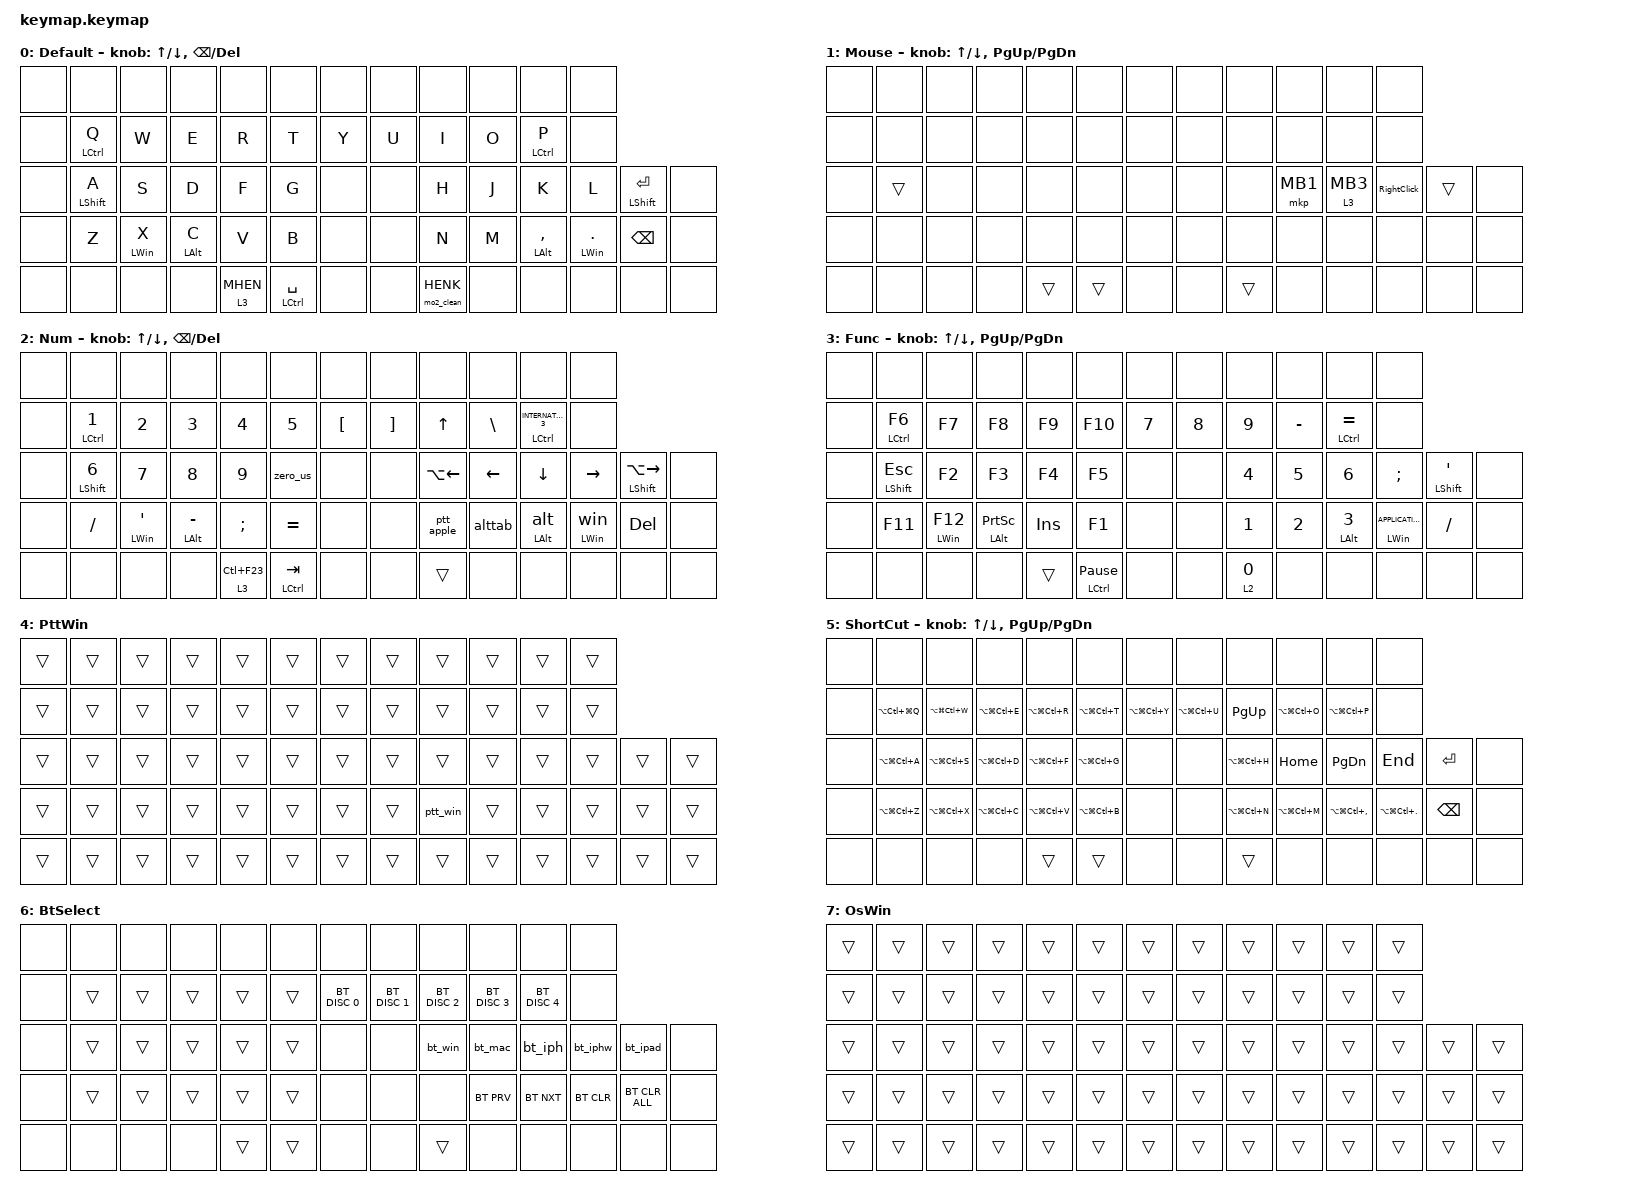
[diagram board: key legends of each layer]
#include <behaviors.dtsi>
#include <dt-bindings/zmk/bt.h>
#include <dt-bindings/zmk/keys.h>
#include <dt-bindings/zmk/pointing.h>

// torabo_tsuki_lp master(66キー/Lレイアウト)の物理マトリクスに、4x5keys2のキーマップを移植したもの。
// 4x5keys2で実キーが存在した位置だけ機能を割り当て、その他はmaster上に存在しても&noneにしている。
// 4x5keys2位置 -> master位置の対応:
//   row0 (Q-P):        0-9   -> 13,14,15,16,17,18,19,20,21,22
//   row1 (A-L,+1):      10-19 -> 25,26,27,28,29,32,33,34,35,36
//   row2 (Z-.,+1):      20-29 -> 39,40,41,42,43,46,47,48,49,50
//   row3 (V,B,Nの下):   33,34,35 -> 56,57,60
// master物理レイアウト(size_l)は 5行 x 12/14列 = 66キー。詳細はtorabo_tsuki_lp.dtsiのsize_l_transform参照。

&mkp_input_listener { input-processors = <&zip_temp_layer 1 100000>; };

&zip_temp_layer {
    excluded-positions = <
        33 // J:Lbutton
        34 // K:Mbutton - Scroll Layer
        35 // L:Rbutton
        36 // Enter-shift
        25 // A-Shift
        57 // Space-Lctrl
    >;

    require-prior-idle-ms = <200>;
};

&pointing_listener {
    input-processors = <
        &zip_xy_transform (INPUT_TRANSFORM_X_INVERT |INPUT_TRANSFORM_Y_INVERT)
        &zip_temp_layer 1 100000
    >;

    scroller {
        layers = <3>;
        input-processors = <
            &zip_xy_transform (INPUT_TRANSFORM_X_INVERT)
            &zip_xy_to_scroll_mapper
            &zip_scroll_snap // 斜めのスクロールを縦横軸にスナップさせる
            // &scroll_inertia // 慣性スクロール(iOS風の減速スクロール) - 無効化中
            // 2026-11-25: Windows の AutoHotkey（torabo-tsuki.ahk）の右ドラッグスクロールに合わせて 1/8 → 16/15。
            //   ahk: カーソル 15px で1目盛り（WHEEL_DELTA 120）。
            //   ZMK v0.3 + SMOOTH_SCROLLING: Windows は解像度倍率を16にするので、ホイール1単位 = 1/16目盛り。
            //   ボール1カウント = カーソル1px（Windows のポインター速度 10/20・「精度を高める」オフの場合）とすると
            //   15カウントで16単位 = 16/15。旧 1/8 は128カウントで1目盛り（ahk の約8.5倍遅い）。
            //   ⚠️ macOS は解像度倍率を使わない想定のため、Mac では1単位が1目盛り扱いになり速くなる（未検証）。
            &zip_scroll_scaler 16 15 // n/m 倍。戻すときは 1 8
        >;
    };
};

&zip_scroll_snap {
    x-threshold = <5 8>;
    y-threshold = <8 5>;
    xy-threshold = <5 8>;
};

// mtの初期値はhold-preferred(他のキーを押した瞬間にholdが確定する)で、
// Spaceの直後に文字を打つと意図せずCtrl等が発火しやすいので、hmと同じtap-preferredに統一する

&mt {
    flavor = "tap-preferred";
    quick-tap-ms = <200>;
};

// stickyレイヤー(&sl)の保持時間。既定の1秒だとBTプロファイルを選ぶ前に外れやすいので伸ばす。
// 外れた場合はBtSelectレイヤーが消えるだけで、誤爆して別プロファイルへ飛ぶことはない
&sl {
    release-after-ms = <2000>;
};

/ {
    combos {
        compatible = "zmk,combos";

        pgup {
            bindings = <&kp PG_UP>;
            key-positions = <20 39 60>;
        };

        pgdn {
            bindings = <&kp PAGE_DOWN>;
            key-positions = <39 60 34>;
        };

        home {
            bindings = <&kp HOME>;
            key-positions = <39 60 33>;
        };

        end {
            bindings = <&kp END>;
            key-positions = <39 60 35>;
        };

        // 右手だけでBTプロファイルを選ぶ入口。U I O (index 19 20 21)の同時押しでBtSelect(layer 6)を
        // stickyで1回だけ有効にし、続けて右手の1キーを「単押し」して接続/切断/消去を選ぶ。
        // 既存の2+3(両親指)経由のShortCutはそのまま残る。
        // 右手がcentralなので、左手が電池切れ・電源オフでもこの経路だけは生きている。
        //
        // 🔴 layersは「その時点で最も高いindexのアクティブなレイヤー」1つとだけ照合される
        // (combo.c: zmk_keymap_highest_layer_active)。そのため素の0だけでは足りない:
        //   0 = 通常
        //   1 = Mouse。トラックボールを触るとzip_temp_layerが立てるので、ボール直後に効かなくなる
        //   7 = OsWin。Windowsモードの間ずっとonなので、これが無いとWindows側で一切発火しない
        // 逆にNum(2)/Func(3)/ShortCut(5)中は発火しない。Windowsモードのみhighestが7のままなので
        // Num/Func中でも発火しうるが、その位置の3キー同時押しは通常の打鍵では起きない。
        // 🔴 下段(M , .)ではなく上段(U I O)に置くのは、下段の . BS がプロファイル消去・全消去で、
        // コンボを離した指がその上に残ると誤爆したとき接続情報が消えるため(2026-09-21 田上さんの判断)。
        // 上段に残る指の下はBT_DISC(切断)で、こちらは繋ぎ直せば戻る。
        // ⚠️ require-prior-idle-msは誤爆防止。外すと打鍵の流れの中で画面が別の機械へ飛ぶ
        bt_select {
            bindings = <&sl 6>;
            key-positions = <19 20 21>;
            timeout-ms = <50>;
            require-prior-idle-ms = <200>;
            layers = <0 1 7>;
        };
    };

    keymap {
        compatible = "zmk,keymap";

        Default {
            bindings = <
  &none  &none  &none  &none  &none  &none  &none  &none  &none  &none  &none  &none
  &none  &hm LCTRL Q  &kp W  &kp E  &kp R  &kp T  &kp Y  &kp U  &kp I  &kp O  &hm LCTRL P  &none
  &none  &mt_exit_AML_on_tap LSHIFT A  &kp S  &kp D  &kp F  &kp G  &none  &none  &kp H  &kp J  &kp K  &kp L  &mt_exit_AML_on_tap LEFT_SHIFT ENTER  &none
  &none  &kp Z  &hm LWIN X  &hm LALT C  &kp V  &kp B  &none  &none  &kp N  &kp M  &hm LEFT_ALT COMMA  &hm LWIN DOT  &kp BACKSPACE  &none
  &none  &none  &none  &none  &moMHEN 3 0  &mt LCTRL SPACE  &none  &none  &moHENK 0 0  &none  &none  &none  &none  &none
            >;

            sensor-bindings = <
            &inc_dec_kp UP DOWN
            &inc_dec_kp BSPC DEL
            >;
        };

        Mouse {
            bindings = <
  &none  &none  &none  &none  &none  &none  &none  &none  &none  &none  &none  &none
  &none  &none  &none  &none  &none  &none  &none  &none  &none  &none  &none  &none
  &none  &trans  &none  &none  &none  &none  &none  &none  &none  &mkp MB1  &lm 3 MB3  &RightClick  &trans  &none
  &none  &none  &none  &none  &none  &none  &none  &none  &none  &none  &none  &none  &none  &none
  &none  &none  &none  &none  &trans  &trans  &none  &none  &trans  &none  &none  &none  &none  &none
            >;

            sensor-bindings = <
            &inc_dec_kp UP DOWN
            &inc_dec_kp PG_UP PG_DN
            >;
        };

        Num {
            bindings = <
  &none  &none  &none  &none  &none  &none  &none  &none  &none  &none  &none  &none
  &none  &hm LCTRL NUMBER_1  &kp N2  &kp N3  &kp N4  &kp N5  &kp LEFT_BRACKET  &kp RIGHT_BRACKET  &kp UP  &kp BACKSLASH  &hm LCTRL INTERNATIONAL_3  &none
  &none  &hm LSHIFT NUMBER_6  &kp N7  &kp N8  &kp N9  &zero_us  &none  &none  &kp LA(LEFT)  &kp LEFT  &kp DOWN  &kp RIGHT  &hm LEFT_SHIFT LA(RIGHT)  &none
  &none  &kp SLASH  &hm LEFT_WIN SINGLE_QUOTE  &hm LEFT_ALT MINUS  &kp SEMI  &kp EQUAL  &none  &none  &ptt_apple  &alttab  &Malt LEFT_ALT 0  &Mwin LWIN 0  &kp DELETE  &none
  &none  &none  &none  &none  &lt 3 LC(F23)  &mt LCTRL TAB  &none  &none  &trans  &none  &none  &none  &none  &none
            >;

            sensor-bindings = <
            &inc_dec_kp UP DOWN
            &inc_dec_kp BSPC DEL
            >;
        };

        Func {
            bindings = <
  &none  &none  &none  &none  &none  &none  &none  &none  &none  &none  &none  &none
  &none  &hm LCTRL F6  &kp F7  &kp F8  &kp F9  &kp F10  &kp N7  &kp N8  &kp N9  &kp MINUS  &hm LCTRL EQUAL  &none
  &none  &hm LSHIFT ESCAPE  &kp F2  &kp F3  &kp F4  &kp F5  &none  &none  &kp N4  &kp N5  &kp N6  &kp SEMI  &hm LSHIFT SINGLE_QUOTE  &none
  &none  &kp F11  &mt LWIN F12  &mt LALT PRINTSCREEN  &kp INS  &kp F1  &none  &none  &kp N1  &kp N2  &hm LALT NUMBER_3  &hm LWIN K_APPLICATION  &kp FSLH  &none
  &none  &none  &none  &none  &trans  &hm LCTRL PAUSE_BREAK  &none  &none  &lt 2 N0  &none  &none  &none  &none  &none
            >;

            sensor-bindings = <
            &inc_dec_kp UP DOWN
            &inc_dec_kp PG_UP PG_DN
            >;
        };

        // Windowsモード時にNumレイヤーのPTTキー(index 46)だけを&ptt_winへ差し替える専用レイヤー。
        // ShortCutより前(低いindex)に置くこと。後ろに置くとNum+Funcの&bootloader(ShortCutのindex 46)が
        // このレイヤーに勝たれてしまい、キーマップからブートローダに入れなくなる
        PttWin {
            display-name = "PttWin";
            bindings = <
  &trans  &trans  &trans  &trans  &trans  &trans  &trans  &trans  &trans  &trans  &trans  &trans
  &trans  &trans  &trans  &trans  &trans  &trans  &trans  &trans  &trans  &trans  &trans  &trans
  &trans  &trans  &trans  &trans  &trans  &trans  &trans  &trans  &trans  &trans  &trans  &trans  &trans  &trans
  &trans  &trans  &trans  &trans  &trans  &trans  &trans  &trans  &ptt_win  &trans  &trans  &trans  &trans  &trans
  &trans  &trans  &trans  &trans  &trans  &trans  &trans  &trans  &trans  &trans  &trans  &trans  &trans  &trans
            >;
        };

        ShortCut {
            bindings = <
  &none  &none  &none  &none  &none  &none  &none  &none  &none  &none  &none  &none
  &none  &kp LA(LC(LG(Q)))  &kp LA(LG(LC(W)))  &kp LA(LG(LC(E)))  &kp LA(LG(LC(R)))  &kp LA(LG(LC(T)))  &kp LA(LG(LC(Y)))  &kp LA(LG(LC(U)))  &kp PG_UP  &kp LA(LG(LC(O)))  &kp LA(LG(LC(P)))  &none
  &none  &kp LA(LG(LC(A)))  &kp LA(LG(LC(S)))  &kp LA(LG(LC(D)))  &kp LA(LG(LC(F)))  &kp LA(LG(LC(G)))  &none  &none  &kp LA(LG(LC(H)))  &kp HOME  &kp PG_DN  &kp END  &kp ENTER  &none
  &none  &kp LA(LG(LC(Z)))  &kp LA(LG(LC(X)))  &kp LA(LG(LC(C)))  &kp LA(LG(LC(V)))  &kp LA(LG(LC(B)))  &none  &none  &kp LA(LG(LC(N)))  &kp LA(LG(LC(M)))  &kp LA(LG(LC(COMMA)))  &kp LA(LG(LC(DOT)))  &kp BSPC  &none
  &none  &none  &none  &none  &trans  &trans  &none  &none  &trans  &none  &none  &none  &none  &none
            >;

            sensor-bindings = <
            &inc_dec_kp UP DOWN
            &inc_dec_kp PG_UP PG_DN
            >;
        };

        // 🔴 bootloaderキーは2026-09-21に田上さんの判断で削除した。以後キーマップからは入れない。
        // 代わりにUSBを繋いでCDC ACMポートを1200bpsで開くとブートローダに入る
        // (CONFIG_ZMK_CDC_ACM_BOOTLOADER_TRIGGER=y が左右の.confにある。Arduinoと同じ方式):
        //   ls /dev/cu.usbmodem*  →  stty -f /dev/cu.usbmodem<実際の名前> 1200
        //
        // BT関連を集約したレイヤー。combo bt_select から &sl 6 (sticky) で入り、次の1キーだけ効く。
        //   Y U I O P     = プロファイル0〜4の切断 (&bt BT_DISC)
        //   H J K L Enter = プロファイル0〜4への接続 (Win/Mac/iPhone/iPhone(W)/iPad)
        //   M ,           = 前/次のプロファイル
        //   . BS          = このプロファイルを消去 / 全プロファイルを消去
        // 左手は&trans、右手の残りは&noneなので、選び損ねても何も起きない
        BtSelect {
            display-name = "BtSelect";
            bindings = <
  &none  &none  &none  &none  &none  &none  &none  &none  &none  &none  &none  &none
  &none  &trans  &trans  &trans  &trans  &trans  &bt BT_DISC 0  &bt BT_DISC 1  &bt BT_DISC 2  &bt BT_DISC 3  &bt BT_DISC 4  &none
  &none  &trans  &trans  &trans  &trans  &trans  &none  &none  &bt_win  &bt_mac  &bt_iph  &bt_iphw  &bt_ipad  &none
  &none  &trans  &trans  &trans  &trans  &trans  &none  &none  &none  &bt BT_PRV  &bt BT_NXT  &bt BT_CLR  &bt BT_CLR_ALL  &none
  &none  &none  &none  &none  &trans  &trans  &none  &none  &trans  &none  &none  &none  &none  &none
            >;
        };

        // OSモード(Windowsかどうか)を保持するだけのフラグ専用レイヤー。BTプロファイル選択マクロがon/offする。
        // 全66エントリが&transなのでキー解決には一切影響しない
        OsWin {
            display-name = "OsWin";
            bindings = <
  &trans  &trans  &trans  &trans  &trans  &trans  &trans  &trans  &trans  &trans  &trans  &trans
  &trans  &trans  &trans  &trans  &trans  &trans  &trans  &trans  &trans  &trans  &trans  &trans
  &trans  &trans  &trans  &trans  &trans  &trans  &trans  &trans  &trans  &trans  &trans  &trans  &trans  &trans
  &trans  &trans  &trans  &trans  &trans  &trans  &trans  &trans  &trans  &trans  &trans  &trans  &trans  &trans
  &trans  &trans  &trans  &trans  &trans  &trans  &trans  &trans  &trans  &trans  &trans  &trans  &trans  &trans
            >;
        };
    };

    conditional_layers {
        compatible = "zmk,conditional-layers";

        FunctionWin {
            if-layers = <2 3>;
            then-layer = <5>; // PttWinの挿入でShortCutが4->5にずれた
        };

        PttWinCond {
            if-layers = <2 7>; // Num + OsWin
            then-layer = <4>;  // PttWin
        };
    };

    macros {
        kp_exitAML: kp_exit_AML {
            compatible = "zmk,behavior-macro-one-param";
            wait-ms = <0>;
            tap-ms = <0>;
            #binding-cells = <1>;
            // &toはデフォルト以外の全レイヤーを無効化するため、OsWinフラグまで巻き添えで落ちる。
            // ここの目的はオートマウスレイヤー(layer 1)から抜けることなので&tog_off 1にする
            bindings = <&macro_param_1to1 &kp MACRO_PLACEHOLDER &tog_off 1>;
            label = "KP_exit_AML";
        };

        mo2_clean: a_hold_mo1_cleanup {
            compatible = "zmk,behavior-macro";
            #binding-cells = <0>;
            bindings =
                <&macro_press>,
                <&mo 2>,
                <&macro_pause_for_release>,
                <&macro_release>,
                <&mo 2>, // 押しっぱなしだった&mo 2を明示的に離す(元は&to 0が唯一の解除経路だった)
                <&kp LWIN &kp LALT>,
                <&macro_tap>,
                <&tog_off 1>, // 元は&to 0。OsWinフラグを落とさないためlayer 1だけを無効化する
                <&tog_off 2>, // 保険。&mo 2のreleaseが効かなくてもNumが残らないようにする
                <&macro_press>;

            label = "A_HOLD_MO1_CLEANUP";
        };

        alttab: b_to2_alt_tab {
            compatible = "zmk,behavior-macro";
            #binding-cells = <0>;
            bindings =
                <&macro_release>,
                <&kp LWIN>,
                <&macro_press>,
                <&kp LALT>,
                <&macro_tap>,
                <&kp TAB>;

            label = "B_TO2_ALT_TAB";
        };

        win: c_alt_plessed {
            compatible = "zmk,behavior-macro";
            #binding-cells = <0>;
            bindings = <&macro_release>, <&kp LALT>, <&macro_press>, <&kp LWIN>;

            label = "C_ALT_PLESSED";
        };

        alt: alt {
            compatible = "zmk,behavior-macro";
            #binding-cells = <0>;
            bindings = <&macro_release>, <&kp LWIN>, <&macro_press>, <&kp LALT>;

            label = "ALT";
        };

        mo2_clean_m: mo2_clean_m {
            compatible = "zmk,behavior-macro";
            #binding-cells = <0>;
            bindings =
                <&macro_press>,
                <&mo 2>,
                <&macro_pause_for_release>,
                <&macro_release>,
                <&mo 2>, // 押しっぱなしだった&mo 2を明示的に離す(元は&to 0が唯一の解除経路だった)
                <&kp LWIN &kp LALT>,
                <&macro_tap>,
                <&tog_off 1>, // 元は&to 0。OsWinフラグを落とさないためlayer 1だけを無効化する
                <&tog_off 2>, // 保険。&mo 2のreleaseが効かなくてもNumが残らないようにする
                <&macro_press>;

            label = "MO2_CLEAN_M";
        };

        // Screens（VNC）越しでは iPadOS が LANG1/LANG2 を横取りするため Mac まで降りてこない。
        // そこで F17（英数）/ F18（かな）も併せて送り、Mac 側の Hammerspoon が JIS のキーコード
        // （102 = kVK_JIS_Eisu / 104 = kVK_JIS_Kana）に戻す。直結時は英数/かなが二重に発火するが
        // 冪等なので無害。Windows（AHK）側と Karabiner 側は F17/F18 を使っていない（2026-08-24 確認）。
        // → 外部脳 4_notes/Screens越しのtorabo-tsuki操作.md
        HENK: HENK {
            compatible = "zmk,behavior-macro";
            #binding-cells = <0>;
            bindings = <&kp LANGUAGE_1 &kp INTERNATIONAL_4 &kp F18>;
            label = "HENK";
        };

        MHEN: MHEN {
            compatible = "zmk,behavior-macro";
            #binding-cells = <0>;
            bindings = <&kp LANGUAGE_2 &kp INT_MUHENKAN &kp F17>;
            label = "MHEN";
        };

        // PTT(押している間だけ音声入力)。&macro_pause_for_releaseより前が押下時、後が離し時に走る。
        // マクロの既定モードはtapなので<&kp LCTRL &kp LCTRL>はControlを2回叩く(Appleの音声入力ショートカット)
        ptt_apple: ptt_apple {
            compatible = "zmk,behavior-macro";
            #binding-cells = <0>;
            // 40msでは macOS が「Control 2回」と認識しなかった（2026-08-12 実機。
            // OS 側は Control 2回に設定済みであることを defaults で確認済み）。
            // 80msだと外したときにもう一往復になるので、まず余裕のある100msへ振る
            wait-ms = <100>;
            tap-ms = <100>;
            bindings =
                <&kp LCTRL &kp LCTRL>,
                <&macro_pause_for_release>,
                <&kp LCTRL &kp LCTRL>;

            label = "PTT_APPLE";
        };

        // Windowsの音声入力はWin+Hのトグル
        ptt_win: ptt_win {
            compatible = "zmk,behavior-macro";
            #binding-cells = <0>;
            wait-ms = <40>;
            tap-ms = <40>;
            bindings =
                <&kp LG(H)>,
                <&macro_pause_for_release>,
                <&kp LG(H)>;

            label = "PTT_WIN";
        };

        // BTプロファイル選択と同時にOSモード(layer 7 = OsWin)を切り替える。
        //
        // 2026-08-25: モニタ切替(DDC)も同じキーに統合した。F13 は「今使っている機械から
        // 相手へ画面を渡す」キーで、受け手は Mac / VAIO の両方に置いてある:
        //   Mac  = ~/.hammerspoon/init.lua の F13 → mac/switch.sh to-vaio
        //   VAIO = win/switch.ahk の F13 → SwitchToMac()
        // どちらも「相手へ渡す」なので、同じ F13 で向きが自動的に決まる。
        //
        // ⚠️ F13 は必ず &bt BT_SEL より前に送る。後にすると切替先の機械に届いてしまう。
        // ⚠️ wait-ms は BLE で F13 が届き切るまでの余裕。200 は暫定値で未実測。
        //    渡した先で画面が動かないなら、まずここを増やす。
        // ⚠️ 「今いる側」のキーを押すと画面だけ相手に飛ぶ(例: Mac にいるのに bt_mac)。
        //    復帰は「相手のキー → 相手側で自分のキー」の2手。
        // ⚠️ VAIO 側は switch.ahk が起動していないと F13 は無視される(害はない)。
        // → 外部脳 3_projects/monitor-switch/0_README.md
        bt_win: bt_win {
            compatible = "zmk,behavior-macro";
            #binding-cells = <0>;
            wait-ms = <200>;
            bindings = <&kp F13>, <&bt BT_SEL 0>, <&tog_on 7>;
            label = "BT_WIN";
        };

        bt_mac: bt_mac {
            compatible = "zmk,behavior-macro";
            #binding-cells = <0>;
            wait-ms = <200>;
            bindings = <&kp F13>, <&bt BT_SEL 1>, <&tog_off 7>;
            label = "BT_MAC";
        };

        bt_iph: bt_iph {
            compatible = "zmk,behavior-macro";
            #binding-cells = <0>;
            bindings = <&bt BT_SEL 2>, <&tog_off 7>;
            label = "BT_IPH";
        };

        bt_iphw: bt_iphw {
            compatible = "zmk,behavior-macro";
            #binding-cells = <0>;
            bindings = <&bt BT_SEL 3>, <&tog_off 7>;
            label = "BT_IPHW";
        };

        bt_ipad: bt_ipad {
            compatible = "zmk,behavior-macro";
            #binding-cells = <0>;
            bindings = <&bt BT_SEL 4>, <&tog_off 7>;
            label = "BT_IPAD";
        };
    };

    behaviors {
        lm: lt_with_mouse {
            compatible = "zmk,behavior-hold-tap";
            label = "LAYER_TAP_MOUSE";
            bindings = <&mo>, <&MiddleClick>;

            #binding-cells = <2>;
            tapping-term-ms = <200>;
        };

        tog_off: toggle_layer_off_only {
            compatible = "zmk,behavior-toggle-layer";
            #binding-cells = <1>;
            display-name = "Toggle Layer Off";
            toggle-mode = "off";
        };

        tog_on: toggle_layer_on_only {
            compatible = "zmk,behavior-toggle-layer";
            #binding-cells = <1>;
            display-name = "Toggle Layer On";
            toggle-mode = "on";
        };

        // 素で0、Shift併用で_(JISのアンダースコア)。mods指定のShiftは既定で出力から取り除かれるため、
        // morph側はLS()で明示的にShiftを載せ直している
        zero_us: zero_underscore {
            compatible = "zmk,behavior-mod-morph";
            label = "ZERO_UNDERSCORE";
            bindings = <&kp N0>, <&kp LS(INT1)>;

            #binding-cells = <0>;
            mods = <(MOD_LSFT|MOD_RSFT)>;
        };

        mt_exit_AML_on_tap: mt_exit_AML_on_tap {
            compatible = "zmk,behavior-hold-tap";
            label = "MT_exit_AML_ON_TAP";
            bindings = <&kp>, <&kp_exitAML>;

            #binding-cells = <2>;
            tapping-term-ms = <200>;
            flavor = "tap-preferred";
            quick-tap-ms = <200>;
            require-prior-idle-ms = <50>;
        };

        lt_clean: lt_clean {
            compatible = "zmk,behavior-hold-tap";
            label = "LT_CLEAN";
            bindings = <&mo2_clean>, <&kp>;

            #binding-cells = <2>;
            tapping-term-ms = <200>;
            flavor = "tap-preferred";
        };

        RightClick: RightClick {
            compatible = "zmk,behavior-mod-morph";
            label = "RIGHTCLICK";
            bindings = <&mkp MB2>, <&none>;

            #binding-cells = <0>;
            mods = <(MOD_LCTL|MOD_LSFT)>;
            keep-mods = <(MOD_LCTL|MOD_LSFT)>;
        };

        MiddleClick: MiddleClick {
            compatible = "zmk,behavior-mod-morph";
            label = "MIDDLECLICK";
            bindings = <&mkp MB3>, <&kp K>;

            #binding-cells = <0>;
            mods = <(MOD_LSFT|MOD_LCTL)>;
            keep-mods = <(MOD_LCTL|MOD_LSFT)>;
        };

        hm: homerow_mod {
            compatible = "zmk,behavior-hold-tap";
            label = "HM";
            bindings = <&kp>, <&kp>;

            #binding-cells = <2>;
            tapping-term-ms = <280>; // Ctrl+Cのようにmodと組み合わせて使う時、素早く離さないとC自身のhold(LALT)が確定してしまうため余裕を持たせる
            quick-tap-ms = <200>;
            flavor = "tap-preferred";
            require-prior-idle-ms = <100>;
            retro-tap;
        };

        Mwin: Mwin {
            compatible = "zmk,behavior-hold-tap";
            label = "MWIN";
            bindings = <&kp>, <&win>;

            #binding-cells = <2>;
            tapping-term-ms = <200>;
        };

        Malt: Malt {
            compatible = "zmk,behavior-hold-tap";
            label = "MALT";
            bindings = <&kp>, <&alt>;

            #binding-cells = <2>;
            tapping-term-ms = <200>;
        };

        moMHEN: moMHEN {
            compatible = "zmk,behavior-hold-tap";
            label = "MOMHEN";
            #binding-cells = <2>;
            bindings = <&mo>, <&MHEN>;

            tapping-term-ms = <200>;
        };

        moHENK: moHENK {
            compatible = "zmk,behavior-hold-tap";
            label = "MOHENK";
            bindings = <&mo2_clean>, <&HENK>;

            #binding-cells = <2>;
            tapping-term-ms = <200>;
            flavor = "tap-preferred";
        };
    };
};
